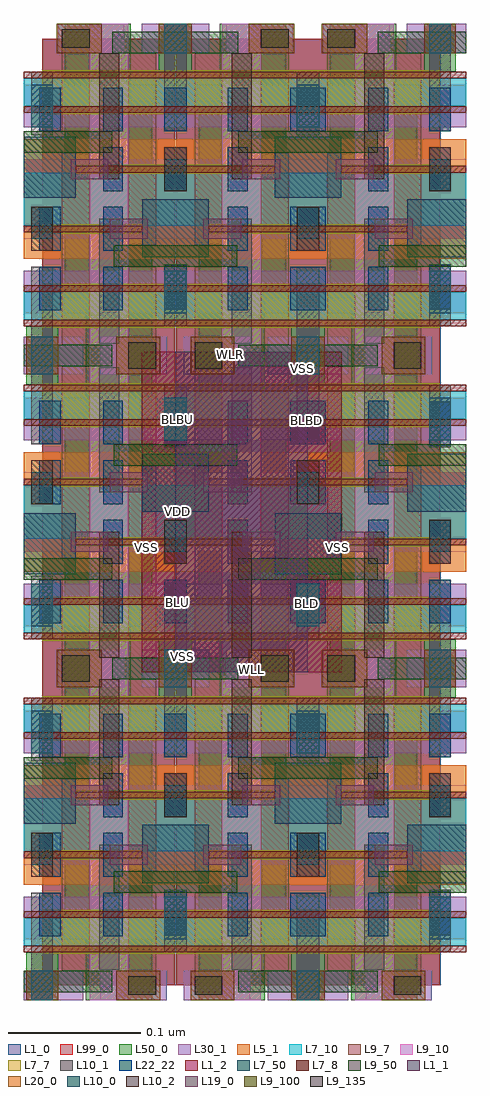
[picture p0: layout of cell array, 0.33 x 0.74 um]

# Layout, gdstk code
import gdstk
lib = gdstk.Library(unit=1e-6, precision=1e-10)
def R(c, l, rs):  # rectangles x0, y0, x1, y1
    for r in rs: c.add(gdstk.rectangle(r[:2], r[2:], *l))
def A(c, l, x, y, w, h, nx, ny, dx, dy):  # array of equal rectangles
    R(c, l, [(x+i*dx, y+j*dy, x+i*dx+w, y+j*dy+h) for i in range(nx) for j in range(ny)])
L1_0 = (1, 0)
L1_1 = (1, 1)
L1_2 = (1, 2)
L5_1 = (5, 1)
L7_7 = (7, 7)
L7_8 = (7, 8)
L7_10 = (7, 10)
L7_50 = (7, 50)
L9_7 = (9, 7)
L9_10 = (9, 10)
L9_50 = (9, 50)
L9_100 = (9, 100)
L9_135 = (9, 135)
L10_0 = (10, 0)
L10_1 = (10, 1)
L10_2 = (10, 2)
L19_0 = (19, 0)
L20_0 = (20, 0)
L22_22 = (22, 22)
L30_1 = (30, 1)
L50_0 = (50, 0)
L99_0 = (99, 0)

array = lib.new_cell('array')
A(array, L1_0, -0.1005, -0.236, 0.1, 0.242, 3, 3, 0.1, 0.236)
R(array, L1_1, [(-0.0005,0,0.0995,0.242)])
R(array, L1_2, [(-0.026,0,0.125,0.242)])
A(array, L5_1, -0.115, -0.16, 0.134, 0.09, 1, 3, 0, 0.236)
A(array, L5_1, -0.02, -0.16, 0.134, 0.09, 1, 3, 0, 0.236)
A(array, L5_1, 0.085, -0.16, 0.134, 0.09, 1, 3, 0, 0.236)
R(array, L7_7, [(-0.101,-0.212,-0.001,-0.179), (0,-0.212,0.1,-0.179), (0.099,-0.212,0.199,-0.179), (-0.101,-0.141,-0.0255,-0.134), (0.0245,-0.141,0.1,-0.134), (0.099,-0.141,0.1745,-0.134), (-0.0755,-0.096,-0.001,-0.089), (0,-0.096,0.0745,-0.089), (0.1245,-0.096,0.199,-0.089), (-0.101,-0.051,-0.001,-0.018), (0,-0.051,0.1,-0.018), (0.099,-0.051,0.199,-0.018), (-0.101,0.024,-0.001,0.057), (0,0.024,0.1,0.057), (0.099,0.024,0.199,0.057), (-0.0755,0.095,-0.001,0.102), (0,0.095,0.0745,0.102), (0.1245,0.095,0.199,0.102), (-0.101,0.14,-0.0255,0.147), (0.0245,0.14,0.1,0.147), (0.099,0.14,0.1745,0.147), (-0.101,0.185,-0.001,0.218), (0,0.185,0.1,0.218), (0.099,0.185,0.199,0.218), (-0.101,0.26,-0.001,0.293), (0,0.26,0.1,0.293), (0.099,0.26,0.199,0.293), (-0.101,0.331,-0.0255,0.338), (0.0245,0.331,0.1,0.338), (0.099,0.331,0.1745,0.338), (-0.0755,0.376,-0.001,0.383), (0,0.376,0.0745,0.383), (0.1245,0.376,0.199,0.383), (-0.101,0.421,-0.001,0.454), (0,0.421,0.1,0.454), (0.099,0.421,0.199,0.454)])
R(array, L7_8, [(-0.115,-0.211,0.019,-0.206), (-0.02,-0.211,0.114,-0.206), (0.085,-0.211,0.219,-0.206), (-0.115,-0.185,0.019,-0.18), (-0.02,-0.185,0.114,-0.18), (0.085,-0.185,0.219,-0.18), (-0.115,-0.14,-0.0255,-0.135), (0.0245,-0.14,0.114,-0.135), (0.085,-0.14,0.1745,-0.135), (-0.0755,-0.095,0.019,-0.09), (-0.02,-0.095,0.0745,-0.09), (0.1245,-0.095,0.219,-0.09), (-0.115,-0.05,0.019,-0.045), (-0.02,-0.05,0.114,-0.045), (0.085,-0.05,0.219,-0.045), (-0.115,-0.024,0.019,-0.019), (-0.02,-0.024,0.114,-0.019), (0.085,-0.024,0.219,-0.019), (-0.115,0.025,0.019,0.03), (-0.02,0.025,0.114,0.03), (0.085,0.025,0.219,0.03), (-0.115,0.051,0.019,0.056), (-0.02,0.051,0.114,0.056), (0.085,0.051,0.219,0.056), (-0.0755,0.096,0.019,0.101), (-0.02,0.096,0.0745,0.101), (0.1245,0.096,0.219,0.101), (-0.115,0.141,-0.0255,0.146), (0.0245,0.141,0.114,0.146), (0.085,0.141,0.1745,0.146), (-0.115,0.186,0.019,0.191), (-0.02,0.186,0.114,0.191), (0.085,0.186,0.219,0.191), (-0.115,0.212,0.019,0.217), (-0.02,0.212,0.114,0.217), (0.085,0.212,0.219,0.217), (-0.115,0.261,0.019,0.266), (-0.02,0.261,0.114,0.266), (0.085,0.261,0.219,0.266), (-0.115,0.287,0.019,0.292), (-0.02,0.287,0.114,0.292), (0.085,0.287,0.219,0.292), (-0.115,0.332,-0.0255,0.337), (0.0245,0.332,0.114,0.337), (0.085,0.332,0.1745,0.337), (-0.0755,0.377,0.019,0.382), (-0.02,0.377,0.0745,0.382), (0.1245,0.377,0.219,0.382), (-0.115,0.422,0.019,0.427), (-0.02,0.422,0.114,0.427), (0.085,0.422,0.219,0.427), (-0.115,0.448,0.019,0.453), (-0.02,0.448,0.114,0.453), (0.085,0.448,0.219,0.453)])
A(array, L7_10, -0.115, -0.135, 0.134, 0.04, 1, 3, 0, 0.236)
A(array, L7_10, -0.02, -0.135, 0.134, 0.04, 1, 3, 0, 0.236)
A(array, L7_10, 0.085, -0.135, 0.134, 0.04, 1, 3, 0, 0.236)
R(array, L7_10, [(-0.115,-0.206,0.019,-0.185), (-0.02,-0.206,0.114,-0.185), (0.085,-0.206,0.219,-0.185), (-0.115,-0.045,0.019,-0.024), (-0.02,-0.045,0.114,-0.024), (0.085,-0.045,0.219,-0.024), (-0.115,0.03,0.019,0.051), (-0.02,0.03,0.114,0.051), (0.085,0.03,0.219,0.051), (-0.115,0.191,0.019,0.212), (-0.02,0.191,0.114,0.212), (0.085,0.191,0.219,0.212), (-0.115,0.266,0.019,0.287), (-0.02,0.266,0.114,0.287), (0.085,0.266,0.219,0.287), (-0.115,0.427,0.019,0.448), (-0.02,0.427,0.114,0.448), (0.085,0.427,0.219,0.448)])
R(array, L7_50, [(-0.0255,-0.159,0.019,-0.115), (-0.02,-0.159,0.0245,-0.115), (0.1745,-0.159,0.219,-0.115), (-0.115,-0.114,-0.0755,-0.068), (0.0745,-0.114,0.114,-0.068), (0.085,-0.114,0.1245,-0.068), (-0.115,0.074,-0.0755,0.12), (0.0745,0.074,0.114,0.12), (0.085,0.074,0.1245,0.12), (-0.0255,0.121,0.019,0.165), (-0.02,0.121,0.0245,0.165), (0.1745,0.121,0.219,0.165), (-0.0255,0.313,0.019,0.357), (-0.02,0.313,0.0245,0.357), (0.1745,0.313,0.219,0.357), (-0.115,0.358,-0.0755,0.404), (0.0745,0.358,0.114,0.404), (0.085,0.358,0.1245,0.404)])
R(array, L9_7, [(-0.036,-0.241,-0.015,-0.166), (0.014,-0.241,0.035,-0.166), (0.164,-0.241,0.185,-0.166), (-0.086,-0.225,-0.065,-0.08), (0.064,-0.225,0.085,-0.08), (0.114,-0.225,0.135,-0.08), (-0.036,-0.15,-0.015,-0.005), (0.014,-0.15,0.035,-0.005), (0.164,-0.15,0.185,-0.005), (-0.086,-0.064,-0.065,0.011), (0.064,-0.064,0.085,0.011), (0.114,-0.064,0.135,0.011), (-0.086,-0.005,-0.065,0.07), (0.064,-0.005,0.085,0.07), (0.114,-0.005,0.135,0.07), (-0.036,0.011,-0.015,0.156), (0.014,0.011,0.035,0.156), (0.164,0.011,0.185,0.156), (-0.086,0.086,-0.065,0.231), (0.064,0.086,0.085,0.231), (0.114,0.086,0.135,0.231), (-0.036,0.172,-0.015,0.247), (0.014,0.172,0.035,0.247), (0.164,0.172,0.185,0.247), (-0.036,0.231,-0.015,0.306), (0.014,0.231,0.035,0.306), (0.164,0.231,0.185,0.306), (-0.086,0.247,-0.065,0.392), (0.064,0.247,0.085,0.392), (0.114,0.247,0.135,0.392), (-0.036,0.322,-0.015,0.467), (0.014,0.322,0.035,0.467), (0.164,0.322,0.185,0.467), (-0.086,0.408,-0.065,0.483), (0.064,0.408,0.085,0.483), (0.114,0.408,0.135,0.483)])
A(array, L9_10, -0.065, -0.247, 0.029, 0.264, 3, 3, 0.1, 0.236)
A(array, L9_50, -0.115, 0.07, 0.067, 0.016, 1, 3, 0, 0.161)
A(array, L9_50, 0.047, 0.07, 0.067, 0.016, 1, 3, 0, 0.161)
A(array, L9_50, 0.085, 0.07, 0.067, 0.016, 1, 3, 0, 0.161)
R(array, L9_50, [(-0.115,-0.241,-0.048,-0.225), (0.047,-0.241,0.114,-0.225), (0.085,-0.241,0.152,-0.225), (-0.047,-0.166,0.019,-0.15), (-0.02,-0.166,0.046,-0.15), (0.153,-0.166,0.219,-0.15), (-0.115,-0.08,-0.048,-0.064), (0.047,-0.08,0.114,-0.064), (0.085,-0.08,0.152,-0.064), (-0.048,-0.005,0.019,0.011), (-0.02,-0.005,0.047,0.011), (0.152,-0.005,0.219,0.011), (-0.047,0.156,0.019,0.172), (-0.02,0.156,0.046,0.172), (0.153,0.156,0.219,0.172), (-0.047,0.306,0.019,0.322), (-0.02,0.306,0.046,0.322), (0.153,0.306,0.219,0.322), (-0.048,0.467,0.019,0.483), (-0.02,0.467,0.047,0.483), (0.152,0.467,0.219,0.483)])
R(array, L9_100, [(-0.036,-0.243,-0.015,-0.229), (0.014,-0.243,0.035,-0.229), (0.164,-0.243,0.185,-0.229), (-0.086,-0.007,-0.065,0.007), (0.064,-0.007,0.085,0.007), (0.114,-0.007,0.135,0.007), (-0.086,-0.001,-0.065,0.013), (0.064,-0.001,0.085,0.013), (0.114,-0.001,0.135,0.013), (-0.036,0.229,-0.015,0.243), (0.014,0.229,0.035,0.243), (0.164,0.229,0.185,0.243), (-0.036,0.235,-0.015,0.249), (0.014,0.235,0.035,0.249), (0.164,0.235,0.185,0.249), (-0.086,0.471,-0.065,0.485), (0.064,0.471,0.085,0.485), (0.114,0.471,0.135,0.485)])
R(array, L9_135, [(-0.036,-0.243,-0.015,-0.229), (0.014,-0.243,0.035,-0.229), (0.164,-0.243,0.185,-0.229), (-0.086,-0.007,-0.065,0.007), (0.064,-0.007,0.085,0.007), (0.114,-0.007,0.135,0.007), (-0.086,-0.001,-0.065,0.013), (0.064,-0.001,0.085,0.013), (0.114,-0.001,0.135,0.013), (-0.036,0.229,-0.015,0.243), (0.014,0.229,0.035,0.243), (0.164,0.229,0.185,0.243), (-0.036,0.235,-0.015,0.249), (0.014,0.235,0.035,0.249), (0.164,0.235,0.185,0.249), (-0.086,0.471,-0.065,0.485), (0.064,0.471,0.085,0.485), (0.114,0.471,0.135,0.485)])
R(array, L10_0, [(-0.109,-0.247,-0.093,-0.225), (0.091,-0.247,0.107,-0.225), (0.092,-0.247,0.108,-0.225), (-0.009,-0.201,0.007,-0.169), (-0.008,-0.201,0.008,-0.169), (0.191,-0.201,0.207,-0.169), (-0.109,-0.145,-0.093,-0.121), (0.091,-0.145,0.107,-0.121), (0.092,-0.145,0.108,-0.121), (-0.009,-0.109,0.007,-0.085), (-0.008,-0.109,0.008,-0.085), (0.191,-0.109,0.207,-0.085), (-0.109,-0.061,-0.093,-0.029), (0.091,-0.061,0.107,-0.029), (0.092,-0.061,0.108,-0.029), (-0.009,-0.011,0.007,0.011), (-0.008,-0.011,0.008,0.011), (0.191,-0.011,0.207,0.011), (-0.009,-0.005,0.007,0.017), (-0.008,-0.005,0.008,0.017), (0.191,-0.005,0.207,0.017), (-0.109,0.035,-0.093,0.067), (0.091,0.035,0.107,0.067), (0.092,0.035,0.108,0.067), (-0.009,0.091,0.007,0.115), (-0.008,0.091,0.008,0.115), (0.191,0.091,0.207,0.115), (-0.109,0.127,-0.093,0.151), (0.091,0.127,0.107,0.151), (0.092,0.127,0.108,0.151), (-0.009,0.175,0.007,0.207), (-0.008,0.175,0.008,0.207), (0.191,0.175,0.207,0.207), (-0.109,0.225,-0.093,0.247), (0.091,0.225,0.107,0.247), (0.092,0.225,0.108,0.247), (-0.109,0.231,-0.093,0.253), (0.091,0.231,0.107,0.253), (0.092,0.231,0.108,0.253), (-0.009,0.271,0.007,0.303), (-0.008,0.271,0.008,0.303), (0.191,0.271,0.207,0.303), (-0.109,0.327,-0.093,0.351), (0.091,0.327,0.107,0.351), (0.092,0.327,0.108,0.351), (-0.009,0.363,0.007,0.387), (-0.008,0.363,0.008,0.387), (0.191,0.363,0.207,0.387), (-0.109,0.411,-0.093,0.443), (0.091,0.411,0.107,0.443), (0.092,0.411,0.108,0.443), (-0.009,0.467,0.007,0.489), (-0.008,0.467,0.008,0.489), (0.191,0.467,0.207,0.489)])
A(array, L10_1, -0.058, -0.224, 0.015, 0.094, 3, 2, 0.1, 0.36)
A(array, L10_1, -0.058, 0.248, 0.015, 0.094, 3, 1, 0.1, 0)
R(array, L10_1, [(-0.109,-0.247,-0.093,-0.166), (0.091,-0.247,0.107,-0.166), (0.092,-0.247,0.108,-0.166), (-0.009,-0.211,0.007,-0.164), (-0.008,-0.211,0.008,-0.164), (0.191,-0.211,0.207,-0.164), (-0.109,-0.067,-0.093,-0.019), (0.091,-0.067,0.107,-0.019), (0.092,-0.067,0.108,-0.019), (-0.009,-0.064,0.007,0.017), (-0.008,-0.064,0.008,0.017), (0.191,-0.064,0.207,0.017), (-0.009,-0.011,0.007,0.07), (-0.008,-0.011,0.008,0.07), (0.191,-0.011,0.207,0.07), (-0.109,0.025,-0.093,0.073), (0.091,0.025,0.107,0.073), (0.092,0.025,0.108,0.073), (-0.009,0.17,0.007,0.217), (-0.008,0.17,0.008,0.217), (0.191,0.17,0.207,0.217), (-0.109,0.172,-0.093,0.253), (0.091,0.172,0.107,0.253), (0.092,0.172,0.108,0.253), (-0.109,0.225,-0.093,0.306), (0.091,0.225,0.107,0.306), (0.092,0.225,0.108,0.306), (-0.009,0.261,0.007,0.308), (-0.008,0.261,0.008,0.308), (0.191,0.261,0.207,0.308), (-0.109,0.405,-0.093,0.453), (0.091,0.405,0.107,0.453), (0.092,0.405,0.108,0.453), (-0.009,0.408,0.007,0.489), (-0.008,0.408,0.008,0.489), (0.191,0.408,0.207,0.489)])
A(array, L10_2, -0.058, -0.1, 0.015, 0.095, 3, 2, 0.1, 0.111)
A(array, L10_2, -0.058, 0.372, 0.015, 0.095, 3, 1, 0.1, 0)
R(array, L10_2, [(-0.109,-0.154,-0.093,-0.121), (0.091,-0.154,0.107,-0.121), (0.092,-0.154,0.108,-0.121), (-0.009,-0.109,0.007,-0.076), (-0.008,-0.109,0.008,-0.076), (0.191,-0.109,0.207,-0.076), (-0.009,0.082,0.007,0.115), (-0.008,0.082,0.008,0.115), (0.191,0.082,0.207,0.115), (-0.109,0.127,-0.093,0.16), (0.091,0.127,0.107,0.16), (0.092,0.127,0.108,0.16), (-0.109,0.318,-0.093,0.351), (0.091,0.318,0.107,0.351), (0.092,0.318,0.108,0.351), (-0.009,0.363,0.007,0.396), (-0.008,0.363,0.008,0.396), (0.191,0.363,0.207,0.396)])
R(array, L19_0, [(-0.05,-0.145,-0.0215,-0.13), (0.0205,-0.145,0.049,-0.13), (0.15,-0.145,0.1785,-0.13), (-0.0795,-0.1,-0.051,-0.085), (0.05,-0.1,0.0785,-0.085), (0.1205,-0.1,0.149,-0.085), (-0.0795,0.091,-0.051,0.106), (0.05,0.091,0.0785,0.106), (0.1205,0.091,0.149,0.106), (-0.05,0.136,-0.0215,0.151), (0.0205,0.136,0.049,0.151), (0.15,0.136,0.1785,0.151), (-0.05,0.327,-0.0215,0.342), (0.0205,0.327,0.049,0.342), (0.15,0.327,0.1785,0.342), (-0.0795,0.372,-0.051,0.387), (0.05,0.372,0.0785,0.387), (0.1205,0.372,0.149,0.387)])
R(array, L20_0, [(-0.113,-0.247,-0.089,-0.225), (-0.045,-0.247,-0.012,-0.225), (0.011,-0.247,0.044,-0.225), (0.087,-0.247,0.111,-0.225), (0.088,-0.247,0.112,-0.225), (0.155,-0.247,0.188,-0.225), (-0.09,-0.011,-0.056,0.011), (-0.013,-0.011,0.011,0.011), (-0.012,-0.011,0.012,0.011), (0.055,-0.011,0.089,0.011), (0.11,-0.011,0.144,0.011), (0.187,-0.011,0.211,0.011), (-0.09,-0.005,-0.056,0.017), (-0.013,-0.005,0.011,0.017), (-0.012,-0.005,0.012,0.017), (0.055,-0.005,0.089,0.017), (0.11,-0.005,0.144,0.017), (0.187,-0.005,0.211,0.017), (-0.113,0.225,-0.089,0.247), (-0.045,0.225,-0.012,0.247), (0.011,0.225,0.044,0.247), (0.087,0.225,0.111,0.247), (0.088,0.225,0.112,0.247), (0.155,0.225,0.188,0.247), (-0.113,0.231,-0.089,0.253), (-0.045,0.231,-0.012,0.253), (0.011,0.231,0.044,0.253), (0.087,0.231,0.111,0.253), (0.088,0.231,0.112,0.253), (0.155,0.231,0.188,0.253), (-0.09,0.467,-0.056,0.489), (-0.013,0.467,0.011,0.489), (-0.012,0.467,0.012,0.489), (0.055,0.467,0.089,0.489), (0.11,0.467,0.144,0.489), (0.187,0.467,0.211,0.489)])
A(array, L22_22, -0.055, -0.199, 0.015, 0.033, 1, 4, 0, 0.045)
A(array, L22_22, 0.039, -0.199, 0.015, 0.033, 1, 4, 0, 0.045)
A(array, L22_22, 0.145, -0.199, 0.015, 0.033, 1, 4, 0, 0.045)
A(array, L22_22, -0.055, 0.037, 0.015, 0.033, 1, 4, 0, 0.045)
A(array, L22_22, 0.039, 0.037, 0.015, 0.033, 1, 4, 0, 0.045)
A(array, L22_22, 0.145, 0.037, 0.015, 0.033, 1, 4, 0, 0.045)
A(array, L22_22, -0.055, 0.273, 0.015, 0.033, 1, 4, 0, 0.045)
A(array, L22_22, 0.039, 0.273, 0.015, 0.033, 1, 4, 0, 0.045)
A(array, L22_22, 0.145, 0.273, 0.015, 0.033, 1, 4, 0, 0.045)
R(array, L22_22, [(-0.103,-0.199,-0.087,-0.166), (0.086,-0.199,0.102,-0.166), (0.097,-0.199,0.113,-0.166), (-0.009,-0.198,0.007,-0.165), (-0.008,-0.198,0.008,-0.165), (0.191,-0.198,0.207,-0.165), (-0.103,-0.154,-0.087,-0.121), (0.086,-0.154,0.102,-0.121), (0.097,-0.154,0.113,-0.121), (-0.009,-0.109,0.007,-0.076), (-0.008,-0.109,0.008,-0.076), (0.191,-0.109,0.207,-0.076), (-0.103,-0.064,-0.087,-0.031), (-0.009,-0.064,0.007,-0.031), (-0.008,-0.064,0.008,-0.031), (0.086,-0.064,0.102,-0.031), (0.097,-0.064,0.113,-0.031), (0.191,-0.064,0.207,-0.031), (-0.103,0.037,-0.087,0.07), (-0.009,0.037,0.007,0.07), (-0.008,0.037,0.008,0.07), (0.086,0.037,0.102,0.07), (0.097,0.037,0.113,0.07), (0.191,0.037,0.207,0.07), (-0.009,0.082,0.007,0.115), (-0.008,0.082,0.008,0.115), (0.191,0.082,0.207,0.115), (-0.103,0.127,-0.087,0.16), (0.086,0.127,0.102,0.16), (0.097,0.127,0.113,0.16), (-0.009,0.171,0.007,0.204), (-0.008,0.171,0.008,0.204), (0.191,0.171,0.207,0.204), (-0.103,0.172,-0.087,0.205), (0.086,0.172,0.102,0.205), (0.097,0.172,0.113,0.205), (-0.103,0.273,-0.087,0.306), (0.086,0.273,0.102,0.306), (0.097,0.273,0.113,0.306), (-0.009,0.274,0.007,0.307), (-0.008,0.274,0.008,0.307), (0.191,0.274,0.207,0.307), (-0.103,0.318,-0.087,0.351), (0.086,0.318,0.102,0.351), (0.097,0.318,0.113,0.351), (-0.009,0.363,0.007,0.396), (-0.008,0.363,0.008,0.396), (0.191,0.363,0.207,0.396), (-0.103,0.408,-0.087,0.441), (-0.009,0.408,0.007,0.441), (-0.008,0.408,0.008,0.441), (0.086,0.408,0.102,0.441), (0.097,0.408,0.113,0.441), (0.191,0.408,0.207,0.441)])
A(array, L30_1, -0.115, -0.145, 0.134, 0.06, 1, 3, 0, 0.236)
A(array, L30_1, -0.02, -0.145, 0.134, 0.06, 1, 3, 0, 0.236)
A(array, L30_1, 0.085, -0.145, 0.134, 0.06, 1, 3, 0, 0.236)
R(array, L30_1, [(-0.115,-0.247,-0.07,-0.225), (-0.057,-0.247,-0.007,-0.225), (0.006,-0.247,0.056,-0.225), (0.069,-0.247,0.114,-0.225), (0.085,-0.247,0.13,-0.225), (0.143,-0.247,0.193,-0.225), (-0.115,-0.201,0.019,-0.169), (-0.02,-0.201,0.114,-0.169), (0.085,-0.201,0.219,-0.169), (-0.115,-0.061,0.019,-0.029), (-0.02,-0.061,0.114,-0.029), (0.085,-0.061,0.219,-0.029), (-0.089,-0.011,-0.039,0.011), (-0.026,-0.011,0.019,0.011), (-0.02,-0.011,0.025,0.011), (0.038,-0.011,0.088,0.011), (0.111,-0.011,0.161,0.011), (0.174,-0.011,0.219,0.011), (-0.089,-0.005,-0.039,0.017), (-0.026,-0.005,0.019,0.017), (-0.02,-0.005,0.025,0.017), (0.038,-0.005,0.088,0.017), (0.111,-0.005,0.161,0.017), (0.174,-0.005,0.219,0.017), (-0.115,0.035,0.019,0.067), (-0.02,0.035,0.114,0.067), (0.085,0.035,0.219,0.067), (-0.115,0.175,0.019,0.207), (-0.02,0.175,0.114,0.207), (0.085,0.175,0.219,0.207), (-0.115,0.225,-0.07,0.247), (-0.057,0.225,-0.007,0.247), (0.006,0.225,0.056,0.247), (0.069,0.225,0.114,0.247), (0.085,0.225,0.13,0.247), (0.143,0.225,0.193,0.247), (-0.115,0.231,-0.07,0.253), (-0.057,0.231,-0.007,0.253), (0.006,0.231,0.056,0.253), (0.069,0.231,0.114,0.253), (0.085,0.231,0.13,0.253), (0.143,0.231,0.193,0.253), (-0.115,0.271,0.019,0.303), (-0.02,0.271,0.114,0.303), (0.085,0.271,0.219,0.303), (-0.115,0.411,0.019,0.443), (-0.02,0.411,0.114,0.443), (0.085,0.411,0.219,0.443), (-0.089,0.467,-0.039,0.489), (-0.026,0.467,0.019,0.489), (-0.02,0.467,0.025,0.489), (0.038,0.467,0.088,0.489), (0.111,0.467,0.161,0.489), (0.174,0.467,0.219,0.489)])
R(array, L50_0, [(-0.113,-0.247,-0.089,-0.211), (-0.068,-0.247,-0.018,-0.041), (0.017,-0.247,0.067,-0.041), (0.087,-0.247,0.111,-0.211), (0.088,-0.247,0.112,-0.211), (0.132,-0.247,0.182,-0.041), (-0.084,-0.19,-0.034,0.017), (0.033,-0.19,0.083,0.017), (0.116,-0.19,0.166,0.017), (-0.013,-0.019,0.011,0.017), (-0.012,-0.019,0.012,0.017), (0.187,-0.019,0.211,0.017), (-0.084,-0.011,-0.034,0.196), (-0.013,-0.011,0.011,0.025), (-0.012,-0.011,0.012,0.025), (0.033,-0.011,0.083,0.196), (0.116,-0.011,0.166,0.196), (0.187,-0.011,0.211,0.025), (-0.068,0.047,-0.018,0.253), (0.017,0.047,0.067,0.253), (0.132,0.047,0.182,0.253), (-0.113,0.217,-0.089,0.253), (0.087,0.217,0.111,0.253), (0.088,0.217,0.112,0.253), (-0.113,0.225,-0.089,0.261), (-0.068,0.225,-0.018,0.431), (0.017,0.225,0.067,0.431), (0.087,0.225,0.111,0.261), (0.088,0.225,0.112,0.261), (0.132,0.225,0.182,0.431), (-0.084,0.282,-0.034,0.489), (0.033,0.282,0.083,0.489), (0.116,0.282,0.166,0.489), (-0.013,0.453,0.011,0.489), (-0.012,0.453,0.012,0.489), (0.187,0.453,0.211,0.489)])
A(array, L99_0, -0.101, -0.236, 0.1, 0.242, 1, 3, 0, 0.236)
A(array, L99_0, 0, -0.236, 0.1, 0.242, 1, 3, 0, 0.236)
A(array, L99_0, 0.099, -0.236, 0.1, 0.242, 1, 3, 0, 0.236)
array.add(gdstk.Label('BLD', (0.098,0.052), layer=30, texttype=2))
array.add(gdstk.Label('BLBD', (0.098,0.19), layer=30, texttype=2))
array.add(gdstk.Label('VDD', (0.001,0.121), layer=30, texttype=2))
array.add(gdstk.Label('BLU', (0.001,0.053), layer=30, texttype=2))
array.add(gdstk.Label('BLBU', (0.001,0.191), layer=30, texttype=2))
array.add(gdstk.Label('VSS', (0.005,0.012), layer=50, texttype=12))
array.add(gdstk.Label('VSS', (-0.022,0.094), layer=50, texttype=12))
array.add(gdstk.Label('VSS', (0.122,0.0945), layer=50, texttype=12))
array.add(gdstk.Label('VSS', (0.095,0.229), layer=50, texttype=12))
array.add(gdstk.Label('WLR', (0.041,0.24), layer=50, texttype=12))
array.add(gdstk.Label('WLL', (0.057,0.002), layer=50, texttype=12))

lib.write_gds('array.gds')
